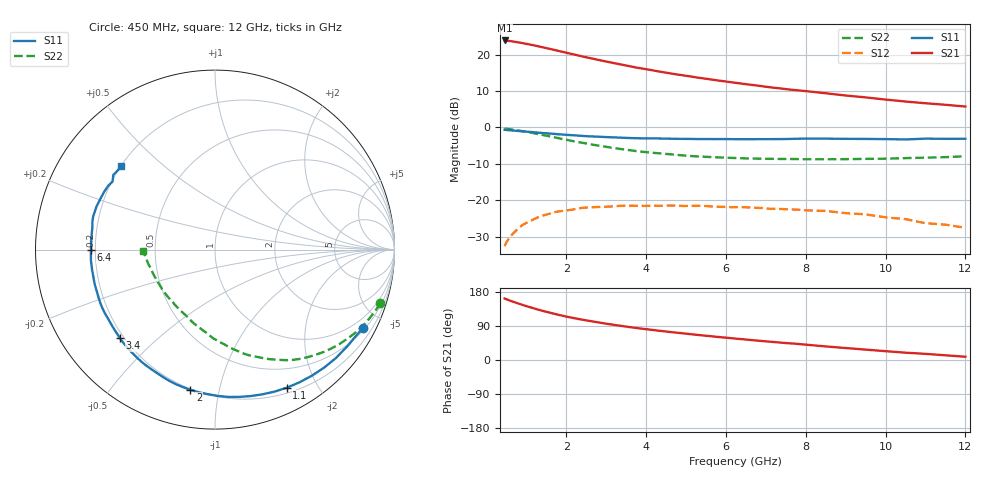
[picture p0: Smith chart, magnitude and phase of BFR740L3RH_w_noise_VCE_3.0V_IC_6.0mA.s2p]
! (c) 2012  Infineon Technologies AG, Munich
! Infineon Technologies  Discrete & RF Semiconductors
! BFR740L3RH
! VCE =  3.0 V,  IC =  6.0 mA
! Common Emitter S-Parameters:  May 2012
# GHz  S  MA  R  50
!  f  S11  S21  S12  S22
! GHz  MAG  ANG  MAG  ANG  MAG  ANG  MAG  ANG
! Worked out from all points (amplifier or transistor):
!   85 points, 450 MHz to 12 GHz, reference 50 ohm
!   highest |S21| = 23.9 dB at 450 MHz (marker M1)
!   |S21| within 3 dB of that: start of sweep to 1.854 GHz
!   unconditionally stable (mu >= 1): 8.858 GHz to end of sweep
!   at 1.8 GHz: K = 0.14, MSG = 22.0 dB, |S12| = -23.0 dB
!   at 4.6 GHz: K = 0.39, MSG = 18.1 dB, |S12| = -21.4 dB
!   at 12 GHz: K = 2.42, MAG = 10.0 dB, |S12| = -27.5 dB
!   lowest NFmin = 0.43 dB at 450 MHz
!   S11 on the Smith chart (normalised r, x): 450 MHz: 0.60, -3.96; 1.1 GHz: 0.26, -1.62; 2 GHz: 0.19, -0.82; 3.4 GHz: 0.18, -0.38; 6.4 GHz: 0.18, -0.00; 12 GHz: 0.20, +0.37
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0.45  0.9323 -27.8  15.65 162.2  0.0235 65.7  0.9691 -18.0
0.6  0.9129 -36.1  15.31 156.1  0.0323 67.6  0.944 -23.6
0.8  0.8954 -47.3  14.71 148.8  0.0417 61.0  0.9085 -30.7
0.9  0.8858 -52.5  14.37 145.3  0.0459 58.4  0.8891 -34.0
1.1  0.8673 -62.5  13.7 138.9  0.0522 53.4  0.8504 -40.4
1.3  0.8485 -71.9  12.99 132.7  0.0589 48.6  0.81 -46.4
1.5  0.8321 -80.5  12.28 127.1  0.0638 43.1  0.7716 -52.1
1.8  0.8069 -92.7  11.25 119.2  0.0704 37.6  0.7131 -59.5
2  0.7933 -100.0  10.61 114.5  0.0726 33.4  0.6774 -64.1
2.2  0.7805 -106.4  10.01 110.3  0.0755 30.2  0.6441 -68.3
2.4  0.7661 -112.5  9.442 106.4  0.0789 26.8  0.6169 -72.4
2.9  0.7428 -125.7  8.248 97.4  0.0816 20.6  0.5535 -81.2
3.4  0.7235 -137.1  7.263 89.6  0.0843 14.9  0.5033 -89.3
3.8  0.7115 -144.9  6.582 83.8  0.0842 12.0  0.4704 -95.1
4.3  0.7066 -152.9  5.896 77.5  0.0843 7.6  0.4435 -101.6
5.2  0.6952 -166.2  4.926 67.2  0.0839 1.0  0.4033 -113.0
6.3  0.6914 -178.9  4.062 55.9  0.0809 -4.9  0.3799 -126.0
6.4  0.691 -179.9  3.995 55.0  0.0808 -5.4  0.3783 -127.2
7.2  0.6928 172.1  3.514 47.4  0.0765 -10.2  0.3709 -136.4
8.5  0.7027 160.1  2.951 35.8  0.0716 -16.3  0.3664 -150.3
10.5  0.6853 146.4  2.271 19.3  0.0553 -21.7  0.38 -167.8
12  0.7004 138.1  1.939 8.6  0.042 -16.3  0.4026 -178.6
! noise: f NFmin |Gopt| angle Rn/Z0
0.45  0.43  0.42  3  0.14
0.9  0.45  0.41  16  0.13
1.5  0.47  0.42  30  0.11
1.9  0.5  0.43  38  0.11
2.4  0.53  0.42  50  0.11
3.5  0.62  0.43  68  0.09
5.5  0.82  0.44  100  0.09
8  1.08  0.41  138  0.08
10  1.28  0.43  164  0.06
12  1.48  0.46  -164  0.05
